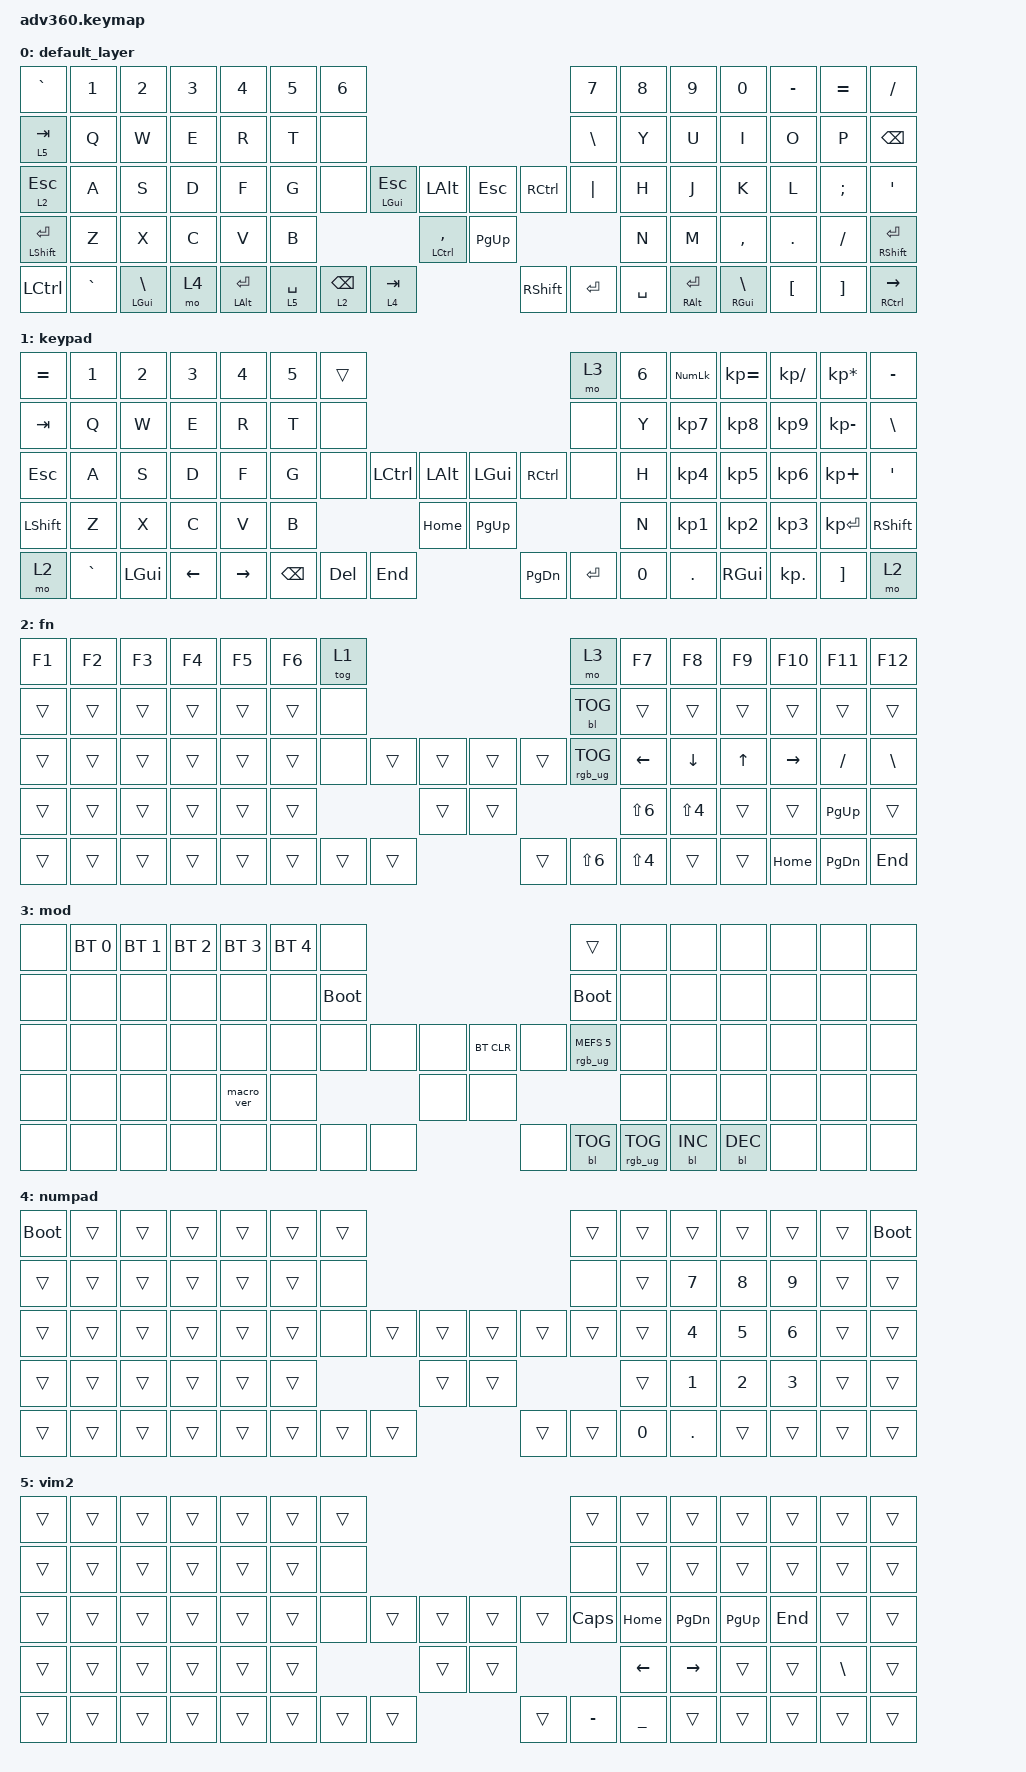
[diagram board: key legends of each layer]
#include <behaviors.dtsi>
#include <dt-bindings/zmk/keys.h>
#include <dt-bindings/zmk/bt.h>
#include <dt-bindings/zmk/rgb.h>
#include <dt-bindings/zmk/backlight.h>

/ {
    behaviors {
      #include "macros.dtsi"
      #include "version.dtsi"
      #ifndef VERSION_MACRO
      macro_ver: macro_ver {
        compatible = "zmk,behavior-macro";
        label = "macro_version";
        #binding-cells = <0>;
        bindings = <&kp RET>;
      };
      #endif

      hm: homerow_mods {
          compatible = "zmk,behavior-hold-tap";
          label = "HOMEROW_MODS";
          #binding-cells = <2>;
          tapping-term-ms = <200>;
          quick_tap_ms = <175>;
          flavor = "tap-preferred";
          bindings = <&kp>, <&kp>;
      };

      td0: tap_dance_0 {
          compatible = "zmk,behavior-tap-dance";
          #binding-cells = <0>;
          tapping-term-ms = <300>;
          bindings = <&kp J>, <&kp ESC>;
      };
    };

  keymap {
    compatible = "zmk,keymap";

    default_layer {
      bindings = <
        &kp GRAVE &kp N1    &kp N2   &kp N3   &kp N4     &kp N5 &kp N6                                                           &kp N7 &kp N8 &kp N9 &kp N0    &kp MINUS   &kp EQUAL   &kp SLASH
        &lt 5 TAB   &kp Q     &kp W    &kp E    &kp R      &kp T  &none                                                            &kp BACKSLASH &kp Y  &kp U  &kp I     &kp O    &kp P    &kp BSPC
        &lt 2 ESC   &kp A     &kp S    &kp D    &kp F      &kp G  &none           &mt LGUI ESC &kp LALT &kp ESC  &kp RCTRL           &kp PIPE &kp H  &kp J  &kp K     &kp L    &kp SEMI &kp SQT
        &mt LSHFT ENTER &kp Z     &kp X    &kp C    &kp V      &kp B               &mt LCTRL COMMA &kp PG_UP                           &kp N  &kp M  &kp COMMA &kp DOT  &kp FSLH &mt RSHFT ENTER
        &kp LCTRL     &kp GRAVE &mt LGUI BACKSLASH &mo 4 &mt LALT ENTER         &lt 5 SPACE &lt 2 BSPC   &lt 4 TAB  &kp RSHFT &kp ENTER &kp SPACE       &mt RALT ENTER &mt RGUI BACKSLASH  &kp LBKT &kp RBKT &mt RCTRL RIGHT
      >;
    };
    keypad {
      bindings = <
        &kp EQUAL &kp N1    &kp N2   &kp N3   &kp N4     &kp N5 &trans                                                           &mo 3 &kp N6 &kp KP_NUM &kp KP_EQUAL &kp KP_DIVIDE &kp KP_MULTIPLY &kp MINUS
        &kp TAB   &kp Q     &kp W    &kp E    &kp R      &kp T  &none                                                            &none &kp Y  &kp KP_N7  &kp KP_N8    &kp KP_N9     &kp KP_MINUS    &kp BSLH
        &kp ESC   &kp A     &kp S    &kp D    &kp F      &kp G  &none           &kp LCTRL &kp LALT &kp LGUI  &kp RCTRL           &none &kp H  &kp KP_N4  &kp KP_N5    &kp KP_N6     &kp KP_PLUS     &kp SQT
        &kp LSHFT &kp Z     &kp X    &kp C    &kp V      &kp B                            &kp HOME &kp PG_UP                           &kp N  &kp KP_N1  &kp KP_N2    &kp KP_N3     &kp KP_ENTER    &kp RSHFT
        &mo 2     &kp GRAVE &kp LGUI &kp LEFT &kp RIGHT                &kp BSPC &kp DEL   &kp END  &kp PG_DN &kp ENTER &kp N0              &kp DOT     &kp RGUI     &kp KP_DOT    &kp RBKT        &mo 2
      >;
    };
    fn {
      bindings = <
        &kp F1 &kp F2 &kp F3 &kp F4 &kp F5 &kp F6 &tog 1                                           &mo 3 &kp F7 &kp F8 &kp F9 &kp F10 &kp F11 &kp F12
        &trans &trans &trans &trans &trans &trans  &none                                           &bl BL_TOG &trans &trans &trans &trans  &trans  &trans
        &trans &trans &trans &trans &trans &trans  &none        &trans &trans &trans &trans        &rgb_ug RGB_TOG &kp LEFT &kp DOWN &kp UP &kp RIGHT  &kp SLASH  &kp BACKSLASH
        &trans &trans &trans &trans &trans &trans                      &trans &trans                     &kp LS(N6) &kp LS(N4) &trans &trans  &kp PG_UP  &trans
        &trans &trans &trans &trans &trans               &trans &trans &trans &trans &kp LS(N6) &kp LS(N4)            &trans &trans &kp HOME  &kp PG_DN  &kp END
      >;
    };
    mod {
      bindings = <
        &none &bt BT_SEL 0 &bt BT_SEL 1 &bt BT_SEL 2 &bt BT_SEL 3 &bt BT_SEL 4 &none                                                                     &trans                 &none        &none        &none        &none &none &none
        &none &none        &none        &none        &none        &none        &bootloader                                                               &bootloader            &none        &none        &none        &none &none &none
        &none &none        &none        &none        &none        &none        &none                   &none &none &bt BT_CLR &none                      &rgb_ug RGB_MEFS_CMD 5 &none        &none        &none        &none &none &none
        &none &none        &none        &none        &macro_ver   &none                                      &none &none                                                        &none        &none        &none        &none &none &none
        &none &none        &none        &none        &none                                       &none &none &none &none      &bl BL_TOG &rgb_ug RGB_TOG                                     &bl BL_INC   &bl BL_DEC   &none &none &none
      >;
    };
    numpad {
      bindings = <
        &bootloader &trans &trans &trans &trans &trans &trans                                           &trans &trans &trans &trans &trans &trans &bootloader
        &trans &trans &trans &trans &trans &trans  &none                                           &none &trans &kp N7 &kp N8 &kp N9  &trans  &trans
        &trans &trans &trans &trans &trans &trans  &none        &trans &trans &trans &trans &trans &trans &kp N4 &kp N5 &kp N6 &trans  &trans
        &trans &trans &trans &trans &trans &trans                      &trans &trans                     &trans &kp N1 &kp N2 &kp N3  &trans  &trans
        &trans &trans &trans &trans &trans               &trans &trans &trans &trans &trans &kp N0              &kp DOT &trans &trans  &trans  &trans
      >;
    };

    vim2 {
      bindings = <
        &trans &trans &trans &trans &trans &trans &trans                                           &trans &trans &trans &trans &trans &trans &trans
        &trans &trans &trans &trans &trans &trans  &none                                           &none &trans &trans &trans &trans  &trans  &trans
        &trans &trans &trans &trans &trans &trans  &none        &trans &trans &trans &trans &kp CAPS &kp HOME &kp PG_DN &kp PG_UP &kp END  &trans  &trans
        &trans &trans &trans &trans &trans &trans                      &trans &trans                     &kp LEFT &kp RIGHT &trans &trans  &kp BACKSLASH  &trans
        &trans &trans &trans &trans &trans               &trans &trans &trans &trans &kp MINUS &kp UNDERSCORE              &trans &trans &trans  &trans  &trans
      >;
    };
  };
};
